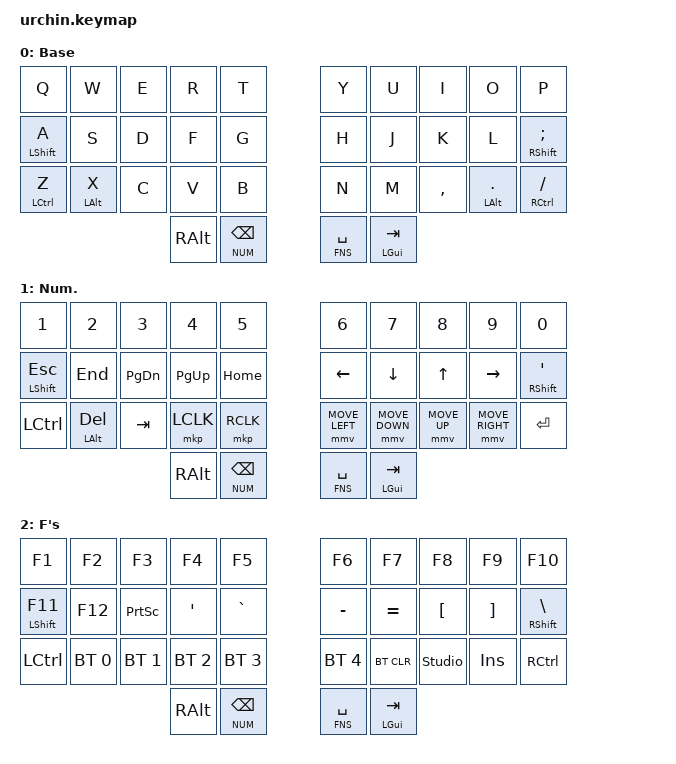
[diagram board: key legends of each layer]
/*
 * Copyright (c) 2020 duckyb
 *
 * SPDX-License-Identifier: MIT
 */

#include <behaviors.dtsi>
#include <dt-bindings/zmk/keys.h>
#include <dt-bindings/zmk/bt.h>
#include <dt-bindings/zmk/outputs.h>
#include "keymap_italian.h"
#include <dt-bindings/zmk/mouse.h>

// Layer definitions
#define BASE 0
#define NUM 1
#define FNS 2
#define FNC 3
#define SYM2 4
#define ACCENT 5
#define SETTINGS 6
// -----------------


&sk {
	// don't release mods on other mods presses
	ignore-modifiers;
};


/ {
	behaviors {
		// Enables holding the first mod-tap key
		// by performing a tap-release-hold sequence.
		// To use it: "&qt KEYCODE1 KEYCODE2"
		qt: quick_tap {
			compatible = "zmk,behavior-hold-tap";
			label = "QUICK_TAP";
			#binding-cells = <2>;
			flavor = "hold-preferred";
			tapping-term-ms = <200>;
			quick-tap-ms = <200>;
			bindings = <&kp>, <&kp>;
		};
		hm: homerow_mods {
            compatible = "zmk,behavior-hold-tap";
            #binding-cells = <2>;
            tapping-term-ms = <200>;
            quick-tap-ms = <0>;
            flavor = "tap-preferred";
            bindings = <&kp>, <&kp>;
        };
	};

	macros {
		// sometimes my device thinks a modifier is being held down
		// pressing all modifiers fixes it.
		unstick: unstick {
			label = "ZM_unstick";
			compatible = "zmk,behavior-macro";
			#binding-cells = <0>;
			bindings = <&kp LSHIFT &kp RSHIFT &kp LCTRL &kp RCTRL &kp LALT &kp RALT &kp LGUI &kp RGUI>;
		};
	};

	combos {};

	keymap {
		compatible = "zmk,keymap";
		// Base alpha layer
		default_layer {
			label = "Base";
			bindings = <
			&kp Q &kp W &kp E &kp R &kp T                  &kp Y  &kp U  &kp I  &kp O  &kp P 
			&hm LSHIFT A &kp S &kp D &kp F &kp G           &kp H &kp J  &kp K &kp L &hm RSHIFT SEMI
			&hm LCTRL Z &hm LALT X &kp C &kp V &kp B            &kp N &kp M  &kp COMMA &hm LALT DOT &hm RCTRL SLASH
							&kp RALT &lt NUM BSPC          &lt FNS SPACE &hm LGUI TAB
			>;
		};

		// Numbers and high frequency symbols
		num_layer {
			label = "Num.";
			bindings = <
			&kp N1 &kp N2 &kp N3 &kp N4 &kp N5		             &kp N6 &kp N7 &kp N8 &kp N9 &kp N0
			&mt LSHIFT ESC &kp END &kp PG_DN &kp PG_UP &kp HOME  &kp LEFT &kp DOWN &kp UP &kp RIGHT &mt RSHIFT SQT
			&kp LCTRL &hm LALT DEL &kp TAB &mkp LCLK &mkp RCLK 	&mmv MOVE_LEFT &mmv MOVE_DOWN &mmv MOVE_UP &mmv MOVE_RIGHT &kp RET
							&kp RALT &lt NUM BSPC           &lt FNS SPACE &mt LGUI TAB
			>;
		};

		// Main modifiers and arrow keys
		fns_layer {
			label = "F's";
			bindings = <
			&kp F1 &kp F2 &kp F3 &kp F4 &kp F5                  &kp F6 &kp F7 &kp F8 &kp F9 &kp F10 
			&mt LSHIFT F11 &kp F12 &kp PSCRN &kp SQT &kp GRAVE                  &kp MINUS &kp EQUAL &kp LBKT &kp RBKT &mt RSHIFT BSLH
           &kp LCTRL &bt BT_SEL 0 &bt BT_SEL 1 &bt BT_SEL 2 &bt BT_SEL 3        &bt BT_SEL 4  &bt BT_CLR &studio_unlock &kp INS &kp RCTRL
							&kp RALT &lt NUM BSPC           &lt FNS SPACE &mt LGUI TAB 
			>;
		};
	};
};
